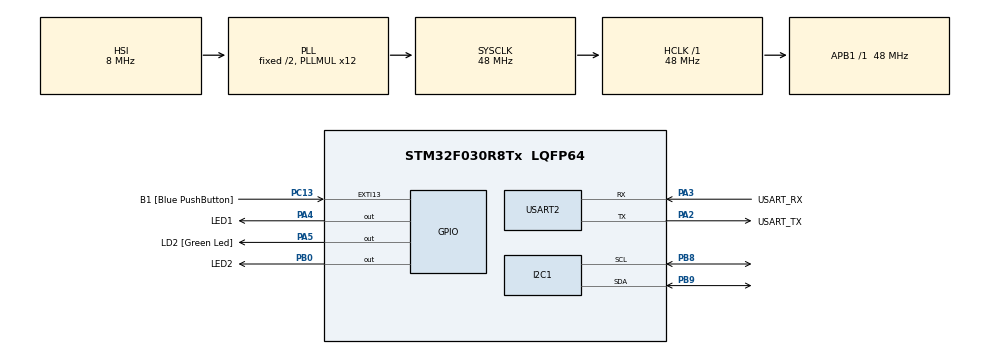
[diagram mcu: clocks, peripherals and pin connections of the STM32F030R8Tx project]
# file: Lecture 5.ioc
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Dma.Request0=USART2_RX
Dma.USART2_RX.0.Direction=DMA_PERIPH_TO_MEMORY
Dma.USART2_RX.0.Instance=DMA1_Channel5
Dma.USART2_RX.0.MemDataAlignment=DMA_MDATAALIGN_BYTE
Dma.USART2_RX.0.MemInc=DMA_MINC_ENABLE
Dma.USART2_RX.0.Mode=DMA_CIRCULAR
Dma.USART2_RX.0.PeriphDataAlignment=DMA_PDATAALIGN_BYTE
Dma.USART2_RX.0.PeriphInc=DMA_PINC_DISABLE
Dma.USART2_RX.0.Priority=DMA_PRIORITY_LOW
Mcu.Family=STM32F0
Mcu.Name=STM32F030R8Tx
Mcu.Package=LQFP64
NVIC.DMA1_Channel4_5_IRQn=true\:0\:0\:false\:false\:true\:false\:true\:true
PA13.GPIO_Label=TMS
PA13.Mode=Serial_Wire
PA13.Signal=SYS_SWDIO
PA14.GPIO_Label=TCK
PA14.Mode=Serial_Wire
PA14.Signal=SYS_SWCLK
PA2.GPIO_Label=USART_TX
PA2.GPIO_Mode=GPIO_MODE_AF_PP
PA2.GPIO_PuPd=GPIO_NOPULL
PA2.GPIO_Speed=GPIO_SPEED_FREQ_LOW
PA2.Mode=Asynchronous
PA2.Signal=USART2_TX
PA3.GPIO_Label=USART_RX
PA3.GPIO_Mode=GPIO_MODE_AF_PP
PA3.GPIO_PuPd=GPIO_NOPULL
PA3.GPIO_Speed=GPIO_SPEED_FREQ_LOW
PA3.Mode=Asynchronous
PA3.Signal=USART2_RX
PA4.GPIO_Label=LED1
PA4.Signal=GPIO_Output
PA5.GPIO_Label=LD2 [Green Led]
PA5.GPIO_Mode=GPIO_MODE_OUTPUT_PP
PA5.GPIO_PuPd=GPIO_NOPULL
PA5.GPIO_Speed=GPIO_SPEED_FREQ_LOW
PA5.Signal=GPIO_Output
PB0.GPIO_Label=LED2
PB0.Signal=GPIO_Output
PB8.Mode=I2C
PB8.Signal=I2C1_SCL
PB9.Mode=I2C
PB9.Signal=I2C1_SDA
PC13.GPIO_Label=B1 [Blue PushButton]
PC13.GPIO_ModeDefaultEXTI=GPIO_MODE_IT_FALLING
PC13.Signal=GPXTI13
PC14-OSC32_IN.Mode=LSE-External-Oscillator
PC14-OSC32_IN.Signal=RCC_OSC32_IN
PC15-OSC32_OUT.Mode=LSE-External-Oscillator
PC15-OSC32_OUT.Signal=RCC_OSC32_OUT
PF0-OSC_IN.Mode=HSE-External-Clock-Source
PF0-OSC_IN.Signal=RCC_OSC_IN
PF1-OSC_OUT.Signal=RCC_OSC_OUT
ProjectManager.HeapSize=0x200
ProjectManager.StackSize=0x400
ProjectManager.TargetToolchain=STM32CubeIDE
RCC.AHBFreq_Value=48000000
RCC.APB1Freq_Value=48000000
RCC.APB1TimFreq_Value=48000000
RCC.HCLKFreq_Value=48000000
RCC.PLLMUL=RCC_PLL_MUL12
RCC.SYSCLKFreq_VALUE=48000000
RCC.SYSCLKSource=RCC_SYSCLKSOURCE_PLLCLK
USART2.VirtualMode-Asynchronous=VM_ASYNC
board=NUCLEO-F030R8

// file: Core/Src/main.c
/* USER CODE BEGIN Header */
/**
  ******************************************************************************
  * @file           : main.c
  * @brief          : Main program body
  ******************************************************************************
  * @attention
  *
  * Copyright (c) 2023 STMicroelectronics.
  * All rights reserved.
  *
  * This software is licensed under terms that can be found in the LICENSE file
  * in the root directory of this software component.
  * If no LICENSE file comes with this software, it is provided AS-IS.
  *
  ******************************************************************************
  */
/* USER CODE END Header */
#include "main.h"

/* USER CODE BEGIN Includes */
#include <stdio.h>
#include <string.h>
#include <stdlib.h>

/* USER CODE END Includes */

/* USER CODE BEGIN PD */
#define CMD_BUFFER_LEN 256
#define RX_BUFFER_LEN 64
#define uart_rx_write_ptr (RX_BUFFER_LEN - hdma_usart2_rx.Instance->CNDTR)

#define EEPROM_ADDR	0xA0
/* USER CODE END PD */

I2C_HandleTypeDef hi2c1;

UART_HandleTypeDef huart2;
DMA_HandleTypeDef hdma_usart2_rx;

/* USER CODE BEGIN PV */
static uint8_t uart_rx_buf[RX_BUFFER_LEN];
static volatile uint16_t uart_rx_read_ptr = 0;
/* USER CODE END PV */

void SystemClock_Config(void);
static void MX_GPIO_Init(void);
static void MX_DMA_Init(void);
static void MX_USART2_UART_Init(void);
static void MX_I2C1_Init(void);

/* USER CODE BEGIN 0 */
int _write(int file, char const *buf, int n)
{
	/* stdout redirection to UART2 */
	HAL_UART_Transmit(&huart2, (uint8_t*)(buf), n, HAL_MAX_DELAY);
	return n;
}

static void uart_process_command(char* cmd) {
	//printf("prijato: '%s'\n", cmd);

	char *token;
	token = strtok(cmd, " ");

	if (strcasecmp(token, "HELLO") == 0) {
		printf("Komunikace OK\n");
	} else if (strcasecmp(token, "LED1") == 0) {
		token = strtok(NULL, " ");

		if (strcasecmp(token, "ON") == 0) HAL_GPIO_WritePin(LED1_GPIO_Port, LED1_Pin, 1);
		else if (strcasecmp(token, "OFF") == 0) HAL_GPIO_WritePin(LED1_GPIO_Port, LED1_Pin, 0);
		else goto error;

		printf("OK\n");

	} else if (strcasecmp(token, "LED2") == 0) {
		token = strtok(NULL, " ");

		if (strcasecmp(token, "ON") == 0) HAL_GPIO_WritePin(LED2_GPIO_Port, LED2_Pin, 1);
		else if (strcasecmp(token, "OFF") == 0) HAL_GPIO_WritePin(LED2_GPIO_Port, LED2_Pin, 0);
		else goto error;

		printf("OK\n");

	} else if (strcasecmp(token, "STATUS") == 0) {
		uint8_t status[2] = {0, 0};

		status[0] = HAL_GPIO_ReadPin(LED1_GPIO_Port, LED1_Pin);
		status[1] = HAL_GPIO_ReadPin(LED2_GPIO_Port, LED2_Pin);

		printf("Status:\n\tLED1: %d\n\tLED2: %d\n", status[0], status[1]);

	} else if (strcasecmp(token, "READ") == 0) {
		token = strtok(NULL, " ");
		uint8_t value;
		uint16_t addr = atoi(token);

		HAL_I2C_Mem_Read(&hi2c1, EEPROM_ADDR, addr, I2C_MEMADD_SIZE_16BIT, &value, 1, 1000);

		printf("Addr 0x%02X = 0x%02X\n", addr, value);

	} else if (strcasecmp(token, "WRITE") == 0) {
		token = strtok(NULL, " ");
		uint16_t addr = atoi(token);
		uint8_t value = atoi(token = strtok(NULL, " "));

		HAL_I2C_Mem_Write(&hi2c1, EEPROM_ADDR, addr, I2C_MEMADD_SIZE_16BIT, &value, 1, 1000);

		while (HAL_I2C_IsDeviceReady(&hi2c1, EEPROM_ADDR, 300, 1000) == HAL_TIMEOUT) {}

		printf("OK\n");

	} else if (strcasecmp(token, "DUMP") == 0) {
		token = strtok(NULL, " ");

		uint8_t value = 0;

		for (uint8_t i = 0; i <= 0x000F; i++) {
			HAL_I2C_Mem_Read(&hi2c1, EEPROM_ADDR, i, I2C_MEMADD_SIZE_16BIT, &value, 1, 1000);
			printf("0x%02X ", value);
			if (i == (0x000F / 2)) printf("\n");
		}
		printf("\n");

	} else goto error;

	if (0) {
error:
		printf("Error. Wrong command!\nReceived: %s\n", cmd);
	}

	return;
}

static void uart_byte_available(uint8_t c)
{
	static uint16_t cnt;
	static char data[CMD_BUFFER_LEN];

	if (cnt < CMD_BUFFER_LEN && c >= 32 && c <= 126) data[cnt++] = c;

	if ((c == '\n' || c == '\r') && cnt > 0) {
		data[cnt] = '\0';
		uart_process_command(data);
		cnt = 0;
	}
}
/* USER CODE END 0 */

int main(void)
{

  /* MCU Configuration--------------------------------------------------------*/

  /* Reset of all peripherals, Initializes the Flash interface and the Systick. */
  HAL_Init();

  /* Configure the system clock */
  SystemClock_Config();

  /* Initialize all configured peripherals */
  MX_GPIO_Init();
  MX_DMA_Init();
  MX_USART2_UART_Init();
  MX_I2C1_Init();
  /* USER CODE BEGIN 2 */
  HAL_UART_Receive_DMA(&huart2, uart_rx_buf, RX_BUFFER_LEN);
  /* USER CODE END 2 */

  /* Infinite loop */
  /* USER CODE BEGIN WHILE */
  while (1)
  {
	  while (uart_rx_read_ptr != uart_rx_write_ptr) {
		  uint8_t b = uart_rx_buf[uart_rx_read_ptr];

		  if (++uart_rx_read_ptr >= RX_BUFFER_LEN) uart_rx_read_ptr = 0; // increase read pointer

		  uart_byte_available(b); // process every received byte with the RX state machine
	  }
    /* USER CODE END WHILE */

  }
}

void SystemClock_Config(void)
{
  RCC_OscInitTypeDef RCC_OscInitStruct = {0};
  RCC_ClkInitTypeDef RCC_ClkInitStruct = {0};
  RCC_PeriphCLKInitTypeDef PeriphClkInit = {0};

  /** Initializes the RCC Oscillators according to the specified parameters
  * in the RCC_OscInitTypeDef structure.
  */
  RCC_OscInitStruct.OscillatorType = RCC_OSCILLATORTYPE_HSI;
  RCC_OscInitStruct.HSIState = RCC_HSI_ON;
  RCC_OscInitStruct.HSICalibrationValue = RCC_HSICALIBRATION_DEFAULT;
  RCC_OscInitStruct.PLL.PLLState = RCC_PLL_ON;
  RCC_OscInitStruct.PLL.PLLSource = RCC_PLLSOURCE_HSI;
  RCC_OscInitStruct.PLL.PLLMUL = RCC_PLL_MUL12;
  RCC_OscInitStruct.PLL.PREDIV = RCC_PREDIV_DIV1;
  if (HAL_RCC_OscConfig(&RCC_OscInitStruct) != HAL_OK)
  {
    Error_Handler();
  }

  /** Initializes the CPU, AHB and APB buses clocks
  */
  RCC_ClkInitStruct.ClockType = RCC_CLOCKTYPE_HCLK|RCC_CLOCKTYPE_SYSCLK
                              |RCC_CLOCKTYPE_PCLK1;
  RCC_ClkInitStruct.SYSCLKSource = RCC_SYSCLKSOURCE_PLLCLK;
  RCC_ClkInitStruct.AHBCLKDivider = RCC_SYSCLK_DIV1;
  RCC_ClkInitStruct.APB1CLKDivider = RCC_HCLK_DIV1;

  if (HAL_RCC_ClockConfig(&RCC_ClkInitStruct, FLASH_LATENCY_1) != HAL_OK)
  {
    Error_Handler();
  }
  PeriphClkInit.PeriphClockSelection = RCC_PERIPHCLK_I2C1;
  PeriphClkInit.I2c1ClockSelection = RCC_I2C1CLKSOURCE_HSI;
  if (HAL_RCCEx_PeriphCLKConfig(&PeriphClkInit) != HAL_OK)
  {
    Error_Handler();
  }
}

static void MX_I2C1_Init(void)
{

  hi2c1.Instance = I2C1;
  hi2c1.Init.Timing = 0x2000090E;
  hi2c1.Init.OwnAddress1 = 0;
  hi2c1.Init.AddressingMode = I2C_ADDRESSINGMODE_7BIT;
  hi2c1.Init.DualAddressMode = I2C_DUALADDRESS_DISABLE;
  hi2c1.Init.OwnAddress2 = 0;
  hi2c1.Init.OwnAddress2Masks = I2C_OA2_NOMASK;
  hi2c1.Init.GeneralCallMode = I2C_GENERALCALL_DISABLE;
  hi2c1.Init.NoStretchMode = I2C_NOSTRETCH_DISABLE;
  if (HAL_I2C_Init(&hi2c1) != HAL_OK)
  {
    Error_Handler();
  }

  /** Configure Analogue filter
  */
  if (HAL_I2CEx_ConfigAnalogFilter(&hi2c1, I2C_ANALOGFILTER_ENABLE) != HAL_OK)
  {
    Error_Handler();
  }

  /** Configure Digital filter
  */
  if (HAL_I2CEx_ConfigDigitalFilter(&hi2c1, 0) != HAL_OK)
  {
    Error_Handler();
  }

}

static void MX_USART2_UART_Init(void)
{

  huart2.Instance = USART2;
  huart2.Init.BaudRate = 38400;
  huart2.Init.WordLength = UART_WORDLENGTH_8B;
  huart2.Init.StopBits = UART_STOPBITS_1;
  huart2.Init.Parity = UART_PARITY_NONE;
  huart2.Init.Mode = UART_MODE_TX_RX;
  huart2.Init.HwFlowCtl = UART_HWCONTROL_NONE;
  huart2.Init.OverSampling = UART_OVERSAMPLING_16;
  huart2.Init.OneBitSampling = UART_ONE_BIT_SAMPLE_DISABLE;
  huart2.AdvancedInit.AdvFeatureInit = UART_ADVFEATURE_NO_INIT;
  if (HAL_UART_Init(&huart2) != HAL_OK)
  {
    Error_Handler();
  }

}

static void MX_DMA_Init(void)
{

  /* DMA controller clock enable */
  __HAL_RCC_DMA1_CLK_ENABLE();

  /* DMA interrupt init */
  /* DMA1_Channel4_5_IRQn interrupt configuration */
  HAL_NVIC_SetPriority(DMA1_Channel4_5_IRQn, 0, 0);
  HAL_NVIC_EnableIRQ(DMA1_Channel4_5_IRQn);

}

static void MX_GPIO_Init(void)
{
  GPIO_InitTypeDef GPIO_InitStruct = {0};

  /* GPIO Ports Clock Enable */
  __HAL_RCC_GPIOC_CLK_ENABLE();
  __HAL_RCC_GPIOF_CLK_ENABLE();
  __HAL_RCC_GPIOA_CLK_ENABLE();
  __HAL_RCC_GPIOB_CLK_ENABLE();

  /*Configure GPIO pin Output Level */
  HAL_GPIO_WritePin(GPIOA, LED1_Pin|LD2_Pin, GPIO_PIN_RESET);

  /*Configure GPIO pin Output Level */
  HAL_GPIO_WritePin(LED2_GPIO_Port, LED2_Pin, GPIO_PIN_RESET);

  /*Configure GPIO pin : B1_Pin */
  GPIO_InitStruct.Pin = B1_Pin;
  GPIO_InitStruct.Mode = GPIO_MODE_IT_FALLING;
  GPIO_InitStruct.Pull = GPIO_NOPULL;
  HAL_GPIO_Init(B1_GPIO_Port, &GPIO_InitStruct);

  /*Configure GPIO pins : LED1_Pin LD2_Pin */
  GPIO_InitStruct.Pin = LED1_Pin|LD2_Pin;
  GPIO_InitStruct.Mode = GPIO_MODE_OUTPUT_PP;
  GPIO_InitStruct.Pull = GPIO_NOPULL;
  GPIO_InitStruct.Speed = GPIO_SPEED_FREQ_LOW;
  HAL_GPIO_Init(GPIOA, &GPIO_InitStruct);

  /*Configure GPIO pin : LED2_Pin */
  GPIO_InitStruct.Pin = LED2_Pin;
  GPIO_InitStruct.Mode = GPIO_MODE_OUTPUT_PP;
  GPIO_InitStruct.Pull = GPIO_NOPULL;
  GPIO_InitStruct.Speed = GPIO_SPEED_FREQ_LOW;
  HAL_GPIO_Init(LED2_GPIO_Port, &GPIO_InitStruct);

}

void Error_Handler(void)
{
  __disable_irq();
  while (1)
  {
  }
}
